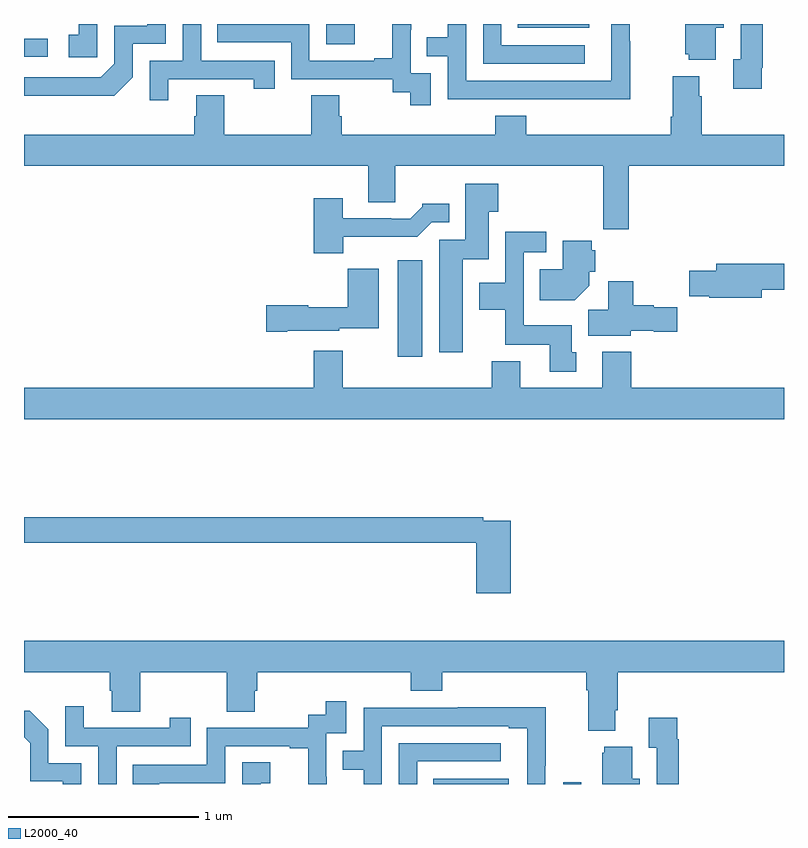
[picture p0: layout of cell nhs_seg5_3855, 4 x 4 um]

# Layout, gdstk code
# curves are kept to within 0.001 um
import gdstk
lib = gdstk.Library(unit=1e-6, precision=1e-09)
def R(c, l, rs):  # rectangles x0, y0, x1, y1
    for r in rs: c.add(gdstk.rectangle(r[:2], r[2:], *l))
def P(c, l, *ps):  # polygons
    for p in ps: c.add(gdstk.Polygon(p, *l))
L2000_40 = (2000, 40)

nhs_seg5_3855 = lib.new_cell('nhs_seg5_3855')
R(nhs_seg5_3855, L2000_40, [(339.154,894.799,339.55,894.826), (339.837,894.799,339.933,894.808), (338.966,897.048,339.097,897.556), (337,898.626,337.126,898.722), (338.592,898.692,338.74,898.799), (339.598,898.778,339.976,898.799), (340.281,898.797,340.377,898.799)])
P(nhs_seg5_3855, L2000_40, [(339.952,898.686),(339.513,898.686),(339.513,898.799),(339.417,898.799),(339.417,898.59),(339.952,898.59)],
  [(337.759,898.509),(338.21,898.509),(338.21,898.458),(338.321,898.458),(338.321,898.605),(337.932,898.605),(337.932,898.799),(337.836,898.799),(337.836,898.605),(337.662,898.605),(337.662,898.398),(337.759,898.398)],
  [(340.191,898.709),(340.188,898.709),(340.188,898.799),(340.092,898.799),(340.092,898.5),(339.327,898.5),(339.327,898.799),(339.231,898.799),(339.231,898.73),(339.121,898.73),(339.121,898.629),(339.231,898.629),(339.231,898.404),(339.727,898.404),(339.727,898.403),(340.191,898.403)],
  [(337.386,898.799),(337.289,898.799),(337.289,898.743),(337.236,898.743),(337.236,898.623),(337.386,898.623)],
  [(337.572,898.518),(337.572,898.695),(337.746,898.695),(337.746,898.799),(337.649,898.799),(337.649,898.791),(337.476,898.791),(337.476,898.59),(337.404,898.518),(337,898.518),(337,898.422),(337.474,898.421)],
  [(339.141,898.539),(339.036,898.539),(339.036,898.769),(339.038,898.769),(339.038,898.799),(338.939,898.799),(338.939,898.618),(338.843,898.618),(338.843,898.605),(338.502,898.605),(338.502,898.799),(338.017,898.799),(338.017,898.704),(338.406,898.704),(338.406,898.509),(338.94,898.509),(338.94,898.441),(339.033,898.441),(339.033,898.371),(339.141,898.371)],
  [(340.882,898.57),(340.889,898.57),(340.889,898.799),(340.773,898.799),(340.773,898.614),(340.733,898.614),(340.733,898.458),(340.882,898.458)],
  [(340.642,898.778),(340.684,898.778),(340.684,898.799),(340.481,898.799),(340.481,898.641),(340.499,898.641),(340.499,898.61),(340.642,898.61)],
  [(340.184,898.052),(341,898.052),(341,898.216),(340.568,898.216),(340.568,898.418),(340.555,898.418),(340.555,898.525),(340.415,898.525),(340.415,898.312),(340.403,898.312),(340.403,898.216),(339.644,898.216),(339.644,898.315),(339.479,898.315),(339.479,898.216),(338.672,898.216),(338.672,898.314),(338.659,898.314),(338.659,898.424),(338.512,898.424),(338.512,898.216),(338.055,898.216),(338.055,898.424),(337.907,898.424),(337.907,898.314),(337.895,898.314),(337.895,898.216),(337,898.216),(337,898.052),(338.813,898.052),(338.813,897.862),(338.953,897.862),(338.953,898.052),(340.048,898.052),(340.048,897.72),(340.184,897.72)],
  [(339.31,897.56),(339.445,897.56),(339.445,897.811),(339.497,897.811),(339.497,897.958),(339.323,897.958),(339.323,897.663),(339.185,897.663),(339.185,897.072),(339.31,897.072)],
  [(338.68,897.68),(339.071,897.68),(339.147,897.756),(339.238,897.756),(339.238,897.853),(339.096,897.853),(339.096,897.838),(339.032,897.774),(338.933,897.774),(338.933,897.777),(338.677,897.777),(338.677,897.883),(338.525,897.883),(338.525,897.593),(338.68,897.593)],
  [(339.907,897.072),(339.883,897.072),(339.883,897.214),(339.63,897.214),(339.63,897.597),(339.748,897.597),(339.748,897.706),(339.534,897.706),(339.534,897.436),(339.395,897.436),(339.395,897.296),(339.532,897.296),(339.532,897.11),(339.767,897.11),(339.767,896.97),(339.907,896.97)],
  [(339.976,897.422),(339.976,897.495),(340.007,897.495),(340.007,897.609),(339.989,897.609),(339.989,897.658),(339.836,897.658),(339.836,897.508),(339.715,897.508),(339.715,897.344),(339.898,897.344)],
  [(340.882,897.4),(341,897.4),(341,897.536),(340.643,897.536),(340.643,897.5),(340.501,897.5),(340.501,897.366),(340.606,897.366),(340.606,897.358),(340.882,897.358)],
  [(338.386,897.185),(338.658,897.185),(338.658,897.197),(338.866,897.197),(338.866,897.511),(338.704,897.511),(338.704,897.307),(338.496,897.307),(338.496,897.32),(338.274,897.32),(338.274,897.178),(338.386,897.178)],
  [(340.194,897.185),(340.314,897.185),(340.314,897.178),(340.439,897.178),(340.439,897.308),(340.314,897.308),(340.314,897.32),(340.206,897.32),(340.206,897.445),(340.076,897.445),(340.076,897.296),(339.971,897.296),(339.971,897.158),(340.194,897.158)],
  [(341,896.884),(340.196,896.884),(340.196,897.073),(340.043,897.073),(340.043,896.884),(339.613,896.884),(339.613,897.025),(339.461,897.025),(339.461,896.884),(338.677,896.884),(338.677,897.079),(338.525,897.079),(338.525,896.884),(337,896.884),(337,896.72),(341,896.72)],
  [(339.563,896.184),(339.416,896.184),(339.416,896.204),(337,896.204),(337,896.068),(339.38,896.068),(339.38,895.803),(339.563,895.803)],
  [(340.111,895.186),(340.124,895.186),(340.124,895.388),(341,895.388),(341,895.552),(337,895.552),(337,895.388),(337.451,895.388),(337.451,895.29),(337.463,895.29),(337.463,895.18),(337.611,895.18),(337.611,895.388),(338.068,895.388),(338.068,895.18),(338.215,895.18),(338.215,895.29),(338.228,895.29),(338.228,895.388),(339.035,895.388),(339.035,895.289),(339.2,895.289),(339.2,895.388),(339.959,895.388),(339.959,895.292),(339.971,895.292),(339.971,895.079),(340.111,895.079)],
  [(337.713,894.804),(338.058,894.804),(338.058,894.999),(338.399,894.999),(338.399,894.987),(338.495,894.987),(338.495,894.799),(338.594,894.799),(338.594,894.836),(338.592,894.836),(338.592,895.065),(338.697,895.065),(338.697,895.234),(338.589,895.234),(338.589,895.164),(338.496,895.164),(338.496,895.095),(337.962,895.095),(337.962,894.9),(337.573,894.9),(337.573,894.799),(337.713,894.799)],
  [(337.488,894.999),(337.877,894.999),(337.877,895.147),(337.766,895.147),(337.766,895.095),(337.315,895.095),(337.315,895.207),(337.218,895.207),(337.218,894.999),(337.392,894.999),(337.392,894.799),(337.488,894.799)],
  [(338.883,895.104),(339.551,895.104),(339.551,895.092),(339.648,895.092),(339.648,894.799),(339.744,894.799),(339.744,894.895),(339.747,894.895),(339.747,895.202),(339.283,895.202),(339.283,895.2),(338.787,895.2),(338.787,894.975),(338.677,894.975),(338.677,894.874),(338.787,894.874),(338.787,894.799),(338.883,894.799)],
  [(337.302,894.909),(337.128,894.909),(337.128,895.086),(337.03,895.184),(337,895.184),(337,895.046),(337.032,895.014),(337.032,894.813),(337.205,894.813),(337.205,894.799),(337.302,894.799)],
  [(340.445,895.034),(340.438,895.034),(340.438,895.147),(340.289,895.147),(340.289,894.991),(340.329,894.991),(340.329,894.799),(340.445,894.799)],
  [(339.069,894.918),(339.508,894.918),(339.508,895.014),(338.973,895.014),(338.973,894.799),(339.069,894.799)],
  [(340.24,894.826),(340.201,894.826),(340.201,894.994),(340.055,894.994),(340.055,894.963),(340.043,894.963),(340.043,894.799),(340.24,894.799)],
  [(338.247,894.803),(338.296,894.803),(338.296,894.913),(338.148,894.913),(338.148,894.799),(338.247,894.799)])

lib.write_gds('nhs_seg5_3855.gds')
